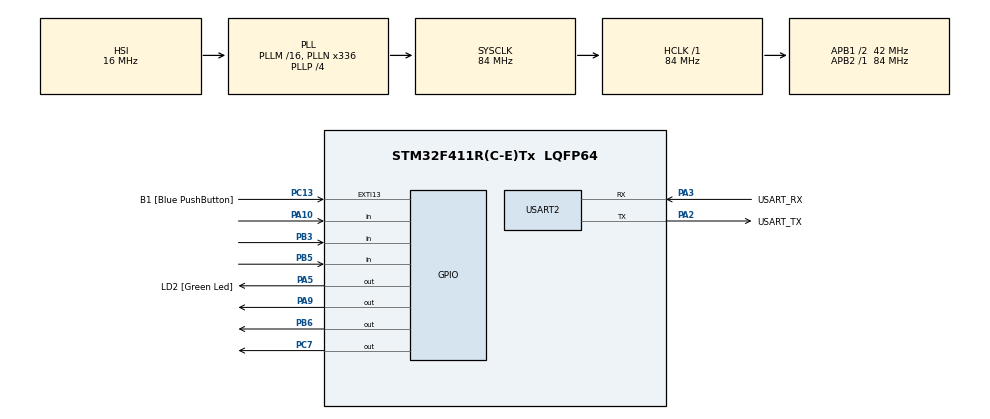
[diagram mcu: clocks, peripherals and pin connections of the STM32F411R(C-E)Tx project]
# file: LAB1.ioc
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Mcu.Family=STM32F4
PC15-OSC32_OUT.Mode=LSE-External-Oscillator
RCC.CortexFreq_Value=84000000
PC13-ANTI_TAMP.GPIO_Label=B1 [Blue PushButton]
PA14.GPIO_Label=TCK
PH1\ -\ OSC_OUT.Mode=HSE-External-Clock-Source
RCC.APB1CLKDivider=RCC_HCLK_DIV2
PC14-OSC32_IN.Signal=RCC_OSC32_IN
RCC.SYSCLKSource=RCC_SYSCLKSOURCE_PLLCLK
ProjectManager.StackSize=0x400
PA13.Signal=SYS_JTMS-SWDIO
PA3.Mode=Asynchronous
PH0\ -\ OSC_IN.Mode=HSE-External-Clock-Source
PH0\ -\ OSC_IN.Signal=RCC_OSC_IN
ProjectManager.TargetToolchain=STM32CubeIDE
RCC.HCLKFreq_Value=84000000
RCC.APB2TimFreq_Value=84000000
PA9.Signal=GPIO_Output
PB6.Signal=GPIO_Output
PC7.Signal=GPIO_Output
PC15-OSC32_OUT.Signal=RCC_OSC32_OUT
RCC.AHBFreq_Value=84000000
PA5.Signal=GPIO_Output
RCC.HSE_VALUE=8000000
PH1\ -\ OSC_OUT.Signal=RCC_OSC_OUT
board=NUCLEO-F411RE
PC13-ANTI_TAMP.Signal=GPXTI13
RCC.VCOOutputFreq_Value=336000000
RCC.APB2Freq_Value=84000000
PC14-OSC32_IN.Mode=LSE-External-Oscillator
PA14.Mode=Serial_Wire
PA13.Mode=Serial_Wire
Mcu.Name=STM32F411R(C-E)Tx
PA2.Signal=USART2_TX
PA13.GPIO_Label=TMS
RCC.FLatency-AdvancedSettings=FLASH_LATENCY_2
RCC.48MHZClocksFreq_Value=84000000
PB3.Signal=GPIO_Input
RCC.SYSCLKFreq_VALUE=84000000
Mcu.Package=LQFP64
PB5.Signal=GPIO_Input
PA5.GPIO_Label=LD2 [Green Led]
USART2.VirtualMode=VM_ASYNC
PC13-ANTI_TAMP.GPIO_ModeDefaultEXTI=GPIO_MODE_IT_FALLING
PA2.GPIO_Label=USART_TX
PA10.Signal=GPIO_Input
PA14.Signal=SYS_JTCK-SWCLK
ProjectManager.HeapSize=0x200
RCC.HSI_VALUE=16000000
RCC.PLLP=RCC_PLLP_DIV4
NVIC.PriorityGroup=NVIC_PRIORITYGROUP_0
RCC.PLLN=336
RCC.APB1TimFreq_Value=84000000
PA2.Mode=Asynchronous
RCC.APB1Freq_Value=42000000
PA3.GPIO_Label=USART_RX
PA3.Signal=USART2_RX

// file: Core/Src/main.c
/* USER CODE BEGIN Header */
/**
 ******************************************************************************
 * @file           : main.c
 * @brief          : Main program body
 ******************************************************************************
 * @attention
 *
 * <h2><center>&copy; Copyright (c) 2021 STMicroelectronics.
 * All rights reserved.</center></h2>
 *
 * This software component is licensed by ST under BSD 3-Clause license,
 * the "License"; You may not use this file except in compliance with the
 * License. You may obtain a copy of the License at:
 *                        opensource.org/licenses/BSD-3-Clause
 *
 ******************************************************************************
 */
/* USER CODE END Header */
#include "main.h"

UART_HandleTypeDef huart2;

void SystemClock_Config(void);
static void MX_GPIO_Init(void);
static void MX_USART2_UART_Init(void);

int main(void)
{

  /* MCU Configuration--------------------------------------------------------*/

  /* Reset of all peripherals, Initializes the Flash interface and the Systick. */
  HAL_Init();

  /* Configure the system clock */
  SystemClock_Config();

  /* Initialize all configured peripherals */
  MX_GPIO_Init();
  MX_USART2_UART_Init();
  /* USER CODE BEGIN 2 */

	GPIO_PinState SwitchState[2];
	GPIO_PinState SwitchState1[2];
	GPIO_PinState SwitchState2[2];
	uint16_t LED1_HalfPeriod = 1000; //à¸„à¸²à¸šà¹€à¸§à¸¥à¸² 0.5 Hz
	uint16_t LED3_HalfPeriod = 500;
	uint32_t TimeStamp = 0;
	uint32_t TimeStamp2 = 0;
	uint32_t TimeBT = 0;
	uint16_t a = 1;
	uint16_t b = 1;
	// uint32_t ButtonTimeStamp = 0;

  /* USER CODE END 2 */

  /* Infinite loop */
	while (1)
	{

    /* USER CODE BEGIN 3 */
		SwitchState[0] = HAL_GPIO_ReadPin(GPIOA, GPIO_PIN_10);
		SwitchState1[0] = HAL_GPIO_ReadPin(GPIOB, GPIO_PIN_3);
		SwitchState2[0] = HAL_GPIO_ReadPin(GPIOB, GPIO_PIN_5);
		if (HAL_GetTick() - TimeBT >= 100)
		{
			// LED 1
			if (SwitchState[1] == 0 && SwitchState[0] == 1)
			{
				if (LED1_HalfPeriod == 1000)
				{
					LED1_HalfPeriod = 500;
				}
				if (LED1_HalfPeriod == 500)
				{
					LED1_HalfPeriod = 250;
				}
				if (LED1_HalfPeriod == 250)
				{
					LED1_HalfPeriod = 500/3;
				}
				else
				{
					LED1_HalfPeriod = 1000;
				}
				TimeBT = HAL_GetTick();
			}

			// LED 2
			if (SwitchState1[1] == 0 && SwitchState1[0] == 1)
			{
				if (a == 1)
				{
					a = 0;
				}
				else
				{
					a = 1;
				}
				TimeBT = HAL_GetTick();
			}

			// LED 3
			if (SwitchState2[1] == 0 && SwitchState2[0] == 1)
			{
				if (b == 1)
				{
					b = 0;
					LED3_HalfPeriod = 1500;
				}
				else
				{
					b = 1;
					LED3_HalfPeriod = 500;
				}
				TimeBT = HAL_GetTick();
			}

			SwitchState[1] = SwitchState[0];
			SwitchState1[1] = SwitchState1[0];
			SwitchState2[1] = SwitchState2[0];
		}

			//RUN LED 1
			if(HAL_GetTick() - TimeStamp >= LED1_HalfPeriod)
			{
				TimeStamp = HAL_GetTick();
				if(HAL_GPIO_ReadPin(GPIOA, GPIO_PIN_9) == 0)
				{
					HAL_GPIO_WritePin(GPIOA, GPIO_PIN_9, 1);
				}
				else
				{
					HAL_GPIO_WritePin(GPIOA, GPIO_PIN_9, 0);
				}
			}

			//RUN LED 2
			if (a == 1)
			{
				HAL_GPIO_WritePin(GPIOC, GPIO_PIN_7, 1);
			}
			if (a == 0)
			{
				HAL_GPIO_WritePin(GPIOC, GPIO_PIN_7, 0);
			}

			//RUN LED3
			if (b == 1)
			{
				if(HAL_GetTick() - TimeStamp2 >= LED3_HalfPeriod)
				{
					TimeStamp2 = HAL_GetTick();
					if(HAL_GPIO_ReadPin(GPIOB, GPIO_PIN_6) == 0)
					{
						HAL_GPIO_WritePin(GPIOB, GPIO_PIN_6, 1);
						LED3_HalfPeriod = 500;
					}
					else
					{
						HAL_GPIO_WritePin(GPIOB, GPIO_PIN_6, 0);
						LED3_HalfPeriod = 1500;
					}
				}
			}
			if (b == 0)
			{
				if(HAL_GetTick() - TimeStamp2 >= LED3_HalfPeriod)
				{
					TimeStamp2 = HAL_GetTick();
					if(HAL_GPIO_ReadPin(GPIOB, GPIO_PIN_6) == 0)
					{
						HAL_GPIO_WritePin(GPIOB, GPIO_PIN_6, 1);
						LED3_HalfPeriod = 1500;
					}
					else
					{
						HAL_GPIO_WritePin(GPIOB, GPIO_PIN_6, 0);
						LED3_HalfPeriod = 500;
					}
				}
			}

	}
  /* USER CODE END 3 */
}

void SystemClock_Config(void)
{
  RCC_OscInitTypeDef RCC_OscInitStruct = {0};
  RCC_ClkInitTypeDef RCC_ClkInitStruct = {0};

  /** Configure the main internal regulator output voltage
  */
  __HAL_RCC_PWR_CLK_ENABLE();
  __HAL_PWR_VOLTAGESCALING_CONFIG(PWR_REGULATOR_VOLTAGE_SCALE1);
  /** Initializes the RCC Oscillators according to the specified parameters
  * in the RCC_OscInitTypeDef structure.
  */
  RCC_OscInitStruct.OscillatorType = RCC_OSCILLATORTYPE_HSI;
  RCC_OscInitStruct.HSIState = RCC_HSI_ON;
  RCC_OscInitStruct.HSICalibrationValue = RCC_HSICALIBRATION_DEFAULT;
  RCC_OscInitStruct.PLL.PLLState = RCC_PLL_ON;
  RCC_OscInitStruct.PLL.PLLSource = RCC_PLLSOURCE_HSI;
  RCC_OscInitStruct.PLL.PLLM = 16;
  RCC_OscInitStruct.PLL.PLLN = 336;
  RCC_OscInitStruct.PLL.PLLP = RCC_PLLP_DIV4;
  RCC_OscInitStruct.PLL.PLLQ = 4;
  if (HAL_RCC_OscConfig(&RCC_OscInitStruct) != HAL_OK)
  {
    Error_Handler();
  }
  /** Initializes the CPU, AHB and APB buses clocks
  */
  RCC_ClkInitStruct.ClockType = RCC_CLOCKTYPE_HCLK|RCC_CLOCKTYPE_SYSCLK
                              |RCC_CLOCKTYPE_PCLK1|RCC_CLOCKTYPE_PCLK2;
  RCC_ClkInitStruct.SYSCLKSource = RCC_SYSCLKSOURCE_PLLCLK;
  RCC_ClkInitStruct.AHBCLKDivider = RCC_SYSCLK_DIV1;
  RCC_ClkInitStruct.APB1CLKDivider = RCC_HCLK_DIV2;
  RCC_ClkInitStruct.APB2CLKDivider = RCC_HCLK_DIV1;

  if (HAL_RCC_ClockConfig(&RCC_ClkInitStruct, FLASH_LATENCY_2) != HAL_OK)
  {
    Error_Handler();
  }
}

static void MX_USART2_UART_Init(void)
{

  huart2.Instance = USART2;
  huart2.Init.BaudRate = 115200;
  huart2.Init.WordLength = UART_WORDLENGTH_8B;
  huart2.Init.StopBits = UART_STOPBITS_1;
  huart2.Init.Parity = UART_PARITY_NONE;
  huart2.Init.Mode = UART_MODE_TX_RX;
  huart2.Init.HwFlowCtl = UART_HWCONTROL_NONE;
  huart2.Init.OverSampling = UART_OVERSAMPLING_16;
  if (HAL_UART_Init(&huart2) != HAL_OK)
  {
    Error_Handler();
  }

}

static void MX_GPIO_Init(void)
{
  GPIO_InitTypeDef GPIO_InitStruct = {0};

  /* GPIO Ports Clock Enable */
  __HAL_RCC_GPIOC_CLK_ENABLE();
  __HAL_RCC_GPIOH_CLK_ENABLE();
  __HAL_RCC_GPIOA_CLK_ENABLE();
  __HAL_RCC_GPIOB_CLK_ENABLE();

  /*Configure GPIO pin Output Level */
  HAL_GPIO_WritePin(GPIOA, LD2_Pin|GPIO_PIN_9, GPIO_PIN_RESET);

  /*Configure GPIO pin Output Level */
  HAL_GPIO_WritePin(GPIOC, GPIO_PIN_7, GPIO_PIN_RESET);

  /*Configure GPIO pin Output Level */
  HAL_GPIO_WritePin(GPIOB, GPIO_PIN_6, GPIO_PIN_RESET);

  /*Configure GPIO pin : B1_Pin */
  GPIO_InitStruct.Pin = B1_Pin;
  GPIO_InitStruct.Mode = GPIO_MODE_IT_FALLING;
  GPIO_InitStruct.Pull = GPIO_NOPULL;
  HAL_GPIO_Init(B1_GPIO_Port, &GPIO_InitStruct);

  /*Configure GPIO pins : LD2_Pin PA9 */
  GPIO_InitStruct.Pin = LD2_Pin|GPIO_PIN_9;
  GPIO_InitStruct.Mode = GPIO_MODE_OUTPUT_PP;
  GPIO_InitStruct.Pull = GPIO_NOPULL;
  GPIO_InitStruct.Speed = GPIO_SPEED_FREQ_LOW;
  HAL_GPIO_Init(GPIOA, &GPIO_InitStruct);

  /*Configure GPIO pin : PC7 */
  GPIO_InitStruct.Pin = GPIO_PIN_7;
  GPIO_InitStruct.Mode = GPIO_MODE_OUTPUT_PP;
  GPIO_InitStruct.Pull = GPIO_NOPULL;
  GPIO_InitStruct.Speed = GPIO_SPEED_FREQ_LOW;
  HAL_GPIO_Init(GPIOC, &GPIO_InitStruct);

  /*Configure GPIO pin : PA10 */
  GPIO_InitStruct.Pin = GPIO_PIN_10;
  GPIO_InitStruct.Mode = GPIO_MODE_INPUT;
  GPIO_InitStruct.Pull = GPIO_NOPULL;
  HAL_GPIO_Init(GPIOA, &GPIO_InitStruct);

  /*Configure GPIO pins : PB3 PB5 */
  GPIO_InitStruct.Pin = GPIO_PIN_3|GPIO_PIN_5;
  GPIO_InitStruct.Mode = GPIO_MODE_INPUT;
  GPIO_InitStruct.Pull = GPIO_NOPULL;
  HAL_GPIO_Init(GPIOB, &GPIO_InitStruct);

  /*Configure GPIO pin : PB6 */
  GPIO_InitStruct.Pin = GPIO_PIN_6;
  GPIO_InitStruct.Mode = GPIO_MODE_OUTPUT_PP;
  GPIO_InitStruct.Pull = GPIO_NOPULL;
  GPIO_InitStruct.Speed = GPIO_SPEED_FREQ_LOW;
  HAL_GPIO_Init(GPIOB, &GPIO_InitStruct);

}

void Error_Handler(void)
{
	__disable_irq();
	while (1) {
	}
}

/************************ (C) COPYRIGHT STMicroelectronics *****END OF FILE****/
